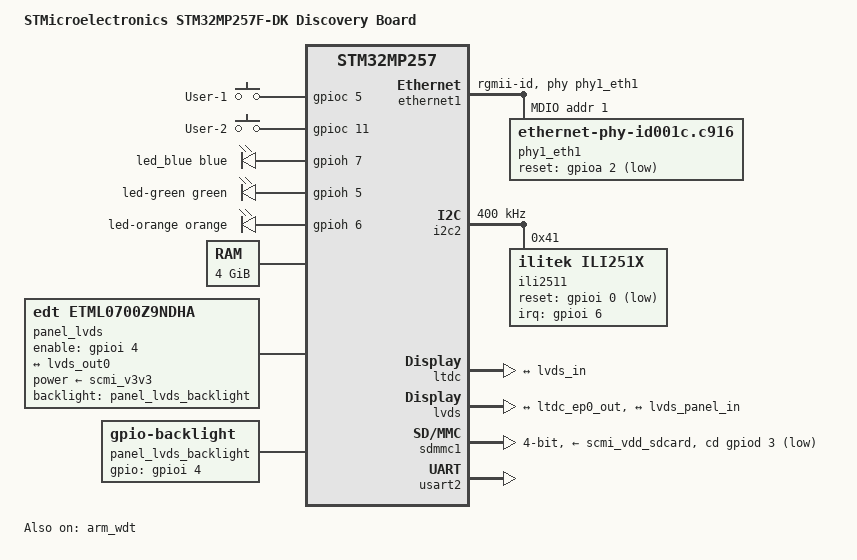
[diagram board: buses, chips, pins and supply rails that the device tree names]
// SPDX-License-Identifier: (GPL-2.0-only OR BSD-3-Clause)
/*
 * Copyright (C) STMicroelectronics 2025 - All Rights Reserved
 * Author: Alexandre Torgue <alexandre.torgue@foss.st.com> for STMicroelectronics.
 */

/dts-v1/;

#include <dt-bindings/gpio/gpio.h>
#include <dt-bindings/input/input.h>
#include <dt-bindings/leds/common.h>
#include "stm32mp257.dtsi"
#include "stm32mp25xf.dtsi"
#include "stm32mp25-pinctrl.dtsi"
#include "stm32mp25xxak-pinctrl.dtsi"

/ {
	model = "STMicroelectronics STM32MP257F-DK Discovery Board";
	compatible = "st,stm32mp257f-dk", "st,stm32mp257";

	aliases {
		ethernet0 = &ethernet1;
		serial0 = &usart2;
	};

	chosen {
		stdout-path = "serial0:115200n8";
	};

	gpio-keys {
		compatible = "gpio-keys";

		button-user-1 {
			label = "User-1";
			linux,code = <BTN_1>;
			gpios = <&gpioc 5 GPIO_ACTIVE_HIGH>;
		};

		button-user-2 {
			label = "User-2";
			linux,code = <BTN_2>;
			gpios = <&gpioc 11 GPIO_ACTIVE_HIGH>;
		};
	};

	gpio-leds {
		compatible = "gpio-leds";

		led_blue: led-blue {
			function = LED_FUNCTION_HEARTBEAT;
			color = <LED_COLOR_ID_BLUE>;
			gpios = <&gpioh 7 GPIO_ACTIVE_HIGH>;
			linux,default-trigger = "heartbeat";
			default-state = "off";
		};

		led-green {
			color = <LED_COLOR_ID_GREEN>;
			gpios = <&gpioh 5 GPIO_ACTIVE_HIGH>;
		};

		led-orange {
			color = <LED_COLOR_ID_ORANGE>;
			gpios = <&gpioh 6 GPIO_ACTIVE_HIGH>;
		};
	};

	lpddr_channel: sdram-channel-0 {
		#address-cells = <1>;
		#size-cells = <0>;
		compatible = "jedec,lpddr4-channel";
		io-width = <32>;
	};

	memory@80000000 {
		device_type = "memory";
		reg = <0x0 0x80000000 0x1 0x0>;
	};

	options {
		u-boot {
			compatible = "u-boot,config";
			boot-led = <&led_blue>;
		};
	};

	panel_lvds: display {
		compatible = "edt,etml0700z9ndha", "panel-lvds";
		enable-gpios = <&gpioi 4 GPIO_ACTIVE_HIGH>;
		backlight = <&panel_lvds_backlight>;
		power-supply = <&scmi_v3v3>;
		width-mm = <156>;
		height-mm = <92>;
		data-mapping = "vesa-24";
		status = "okay";

		panel-timing {
			clock-frequency = <54000000>;
			hactive = <1024>;
			vactive = <600>;
			hfront-porch = <150>;
			hback-porch = <150>;
			hsync-len = <21>;
			vfront-porch = <24>;
			vback-porch = <24>;
			vsync-len = <21>;
		};

		port {
			lvds_panel_in: endpoint {
				remote-endpoint = <&lvds_out0>;
			};
		};
	};

	panel_lvds_backlight: backlight {
		compatible = "gpio-backlight";
		gpios = <&gpioi 4 GPIO_ACTIVE_HIGH>;
		default-on;
		status = "okay";
	};

	reserved-memory {
		#address-cells = <2>;
		#size-cells = <2>;
		ranges;

		fw@80000000 {
			compatible = "shared-dma-pool";
			reg = <0x0 0x80000000 0x0 0x4000000>;
			no-map;
		};
	};
};

&arm_wdt {
	timeout-sec = <32>;
	status = "okay";
};

&ethernet1 {
	pinctrl-0 = <&eth1_rgmii_pins_b>;
	pinctrl-1 = <&eth1_rgmii_sleep_pins_b>;
	pinctrl-names = "default", "sleep";
	phy-handle = <&phy1_eth1>;
	phy-mode = "rgmii-id";
	status = "okay";

	mdio {
		#address-cells = <1>;
		#size-cells = <0>;
		compatible = "snps,dwmac-mdio";
		phy1_eth1: ethernet-phy@1 {
			compatible = "ethernet-phy-id001c.c916";
			reg = <1>;
			reset-gpios = <&gpioa 2 GPIO_ACTIVE_LOW>;
			reset-assert-us = <10000>;
			reset-deassert-us = <80000>;
		};
	};
};

&i2c2 {
	pinctrl-names = "default", "sleep";
	pinctrl-0 = <&i2c2_pins_b>;
	pinctrl-1 = <&i2c2_sleep_pins_b>;
	i2c-scl-rising-time-ns = <108>;
	i2c-scl-falling-time-ns = <12>;
	clock-frequency = <400000>;
	status = "okay";
	/* spare dmas for other usage */
	/delete-property/dmas;
	/delete-property/dma-names;

	ili2511: ili2511@41 {
		compatible = "ilitek,ili251x";
		reg = <0x41>;
		interrupt-parent = <&gpioi>;
		interrupts = <6 IRQ_TYPE_EDGE_FALLING>;
		reset-gpios = <&gpioi 0 GPIO_ACTIVE_LOW>;
		status = "okay";
	};
};

&i2c8 {
	pinctrl-names = "default", "sleep";
	pinctrl-0 = <&i2c8_pins_a>;
	pinctrl-1 = <&i2c8_sleep_pins_a>;
	i2c-scl-rising-time-ns = <185>;
	i2c-scl-falling-time-ns = <20>;
	clock-frequency = <100000>;
	status = "disabled";
	/* spare dmas for other usage */
	/delete-property/dmas;
	/delete-property/dma-names;
};

&ltdc {
	status = "okay";
	port {
		ltdc_ep0_out: endpoint {
			remote-endpoint = <&lvds_in>;
		};
	};
};

&lvds {
	status = "okay";
	ports {
		#address-cells = <1>;
		#size-cells = <0>;

		port@0 {
			reg = <0>;
			lvds_in: endpoint {
				remote-endpoint = <&ltdc_ep0_out>;
			};
		};

		port@1 {
			reg = <1>;
			lvds_out0: endpoint {
				remote-endpoint = <&lvds_panel_in>;
			};
		};
	};
};

&scmi_regu {
	scmi_vddio1: regulator@0 {
		regulator-min-microvolt = <1800000>;
		regulator-max-microvolt = <3300000>;
	};
	scmi_vddcore: regulator@11 {
		reg = <VOLTD_SCMI_STPMIC2_BUCK2>;
		regulator-name = "vddcore";
	};
	scmi_v1v8: regulator@14 {
		reg = <VOLTD_SCMI_STPMIC2_BUCK5>;
		regulator-name = "v1v8";
	};
	scmi_v3v3: regulator@16 {
		reg = <VOLTD_SCMI_STPMIC2_BUCK7>;
		regulator-name = "v3v3";
	};
	scmi_vdd_emmc: regulator@18 {
		reg = <VOLTD_SCMI_STPMIC2_LDO2>;
		regulator-name = "vdd_emmc";
	};
	scmi_vdd3v3_usb: regulator@20 {
		reg = <VOLTD_SCMI_STPMIC2_LDO4>;
		regulator-name = "vdd3v3_usb";
	};
	scmi_v5v_hdmi: regulator@21 {
		reg = <VOLTD_SCMI_STPMIC2_LDO5>;
		regulator-name = "v5v_hdmi";
	};
	scmi_v5v_vconn: regulator@22 {
		reg = <VOLTD_SCMI_STPMIC2_LDO6>;
		regulator-name = "v5v_vconn";
	};
	scmi_vdd_sdcard: regulator@23 {
		reg = <VOLTD_SCMI_STPMIC2_LDO7>;
		regulator-name = "vdd_sdcard";
	};
};

&sdmmc1 {
	pinctrl-names = "default", "opendrain", "sleep";
	pinctrl-0 = <&sdmmc1_b4_pins_a>;
	pinctrl-1 = <&sdmmc1_b4_od_pins_a>;
	pinctrl-2 = <&sdmmc1_b4_sleep_pins_a>;
	cd-gpios = <&gpiod 3 (GPIO_ACTIVE_LOW | GPIO_PULL_UP)>;
	disable-wp;
	st,neg-edge;
	bus-width = <4>;
	vmmc-supply = <&scmi_vdd_sdcard>;
	vqmmc-supply = <&scmi_vddio1>;
	status = "okay";
};

&usart2 {
	pinctrl-names = "default", "idle", "sleep";
	pinctrl-0 = <&usart2_pins_a>;
	pinctrl-1 = <&usart2_idle_pins_a>;
	pinctrl-2 = <&usart2_sleep_pins_a>;
	/delete-property/dmas;
	/delete-property/dma-names;
	status = "okay";
};
